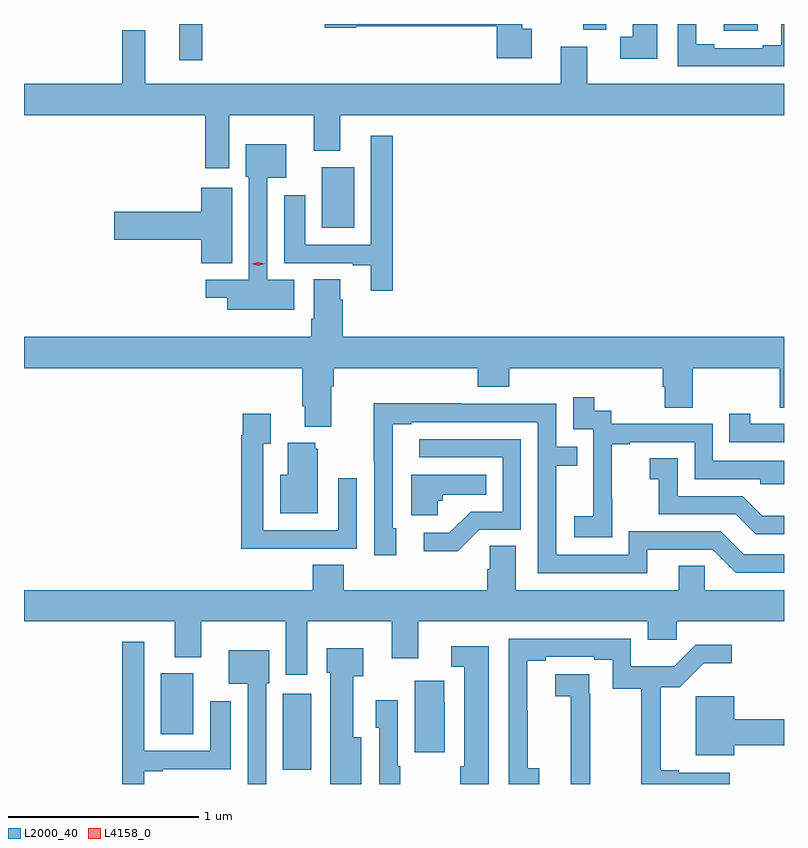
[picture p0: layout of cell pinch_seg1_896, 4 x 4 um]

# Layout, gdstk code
import gdstk
lib = gdstk.Library(unit=1e-6, precision=1e-09)
def R(c, l, rs):  # rectangles x0, y0, x1, y1
    for r in rs: c.add(gdstk.rectangle(r[:2], r[2:], *l))
def P(c, l, *ps):  # polygons
    for p in ps: c.add(gdstk.Polygon(p, *l))
L2000_40 = (2000, 40)
L4158_0 = (4158, 0)

pinch_seg1_896 = lib.new_cell('pinch_seg1_896')
R(pinch_seg1_896, L2000_40, [(254.579,544.291,254.728,544.69), (253.937,544.478,254.107,544.798), (254.783,547.142,254.953,547.462), (254.033,548.025,254.155,548.215), (256.899,548.179,257.078,548.215), (256.16,548.185,256.28,548.215)])
P(pinch_seg1_896, L2000_40, [(256.549,548.215),(256.421,548.215),(256.421,548.148),(256.353,548.148),(256.353,548.033),(256.549,548.033)],
  [(255.889,548.19),(255.838,548.19),(255.838,548.215),(254.798,548.215),(254.798,548.194),(254.964,548.194),(254.964,548.202),(255.704,548.202),(255.704,548.034),(255.889,548.034)],
  [(257.216,548.215),(257.202,548.215),(257.202,548.102),(257.105,548.102),(257.105,548.088),(256.849,548.088),(256.849,548.108),(256.753,548.108),(256.753,548.215),(256.656,548.215),(256.656,547.992),(257.216,547.992)],
  [(254.296,547.736),(254.741,547.736),(254.741,547.547),(254.881,547.547),(254.881,547.736),(257.216,547.736),(257.216,547.9),(256.18,547.9),(256.18,548.095),(256.04,548.095),(256.04,547.9),(253.855,547.9),(253.855,548.182),(253.734,548.182),(253.734,547.9),(253.216,547.9),(253.216,547.736),(254.171,547.736),(254.171,547.455),(254.296,547.455)],
  [(255.158,547.627),(255.042,547.627),(255.042,547.053),(254.695,547.053),(254.695,547.315),(254.585,547.315),(254.585,546.957),(254.945,546.957),(254.945,546.945),(255.041,546.945),(255.041,546.81),(255.158,546.81)],
  [(254.638,546.868),(254.496,546.868),(254.496,547.406),(254.596,547.406),(254.596,547.582),(254.384,547.582),(254.384,547.41),(254.4,547.41),(254.4,546.87),(254.172,546.87),(254.172,546.773),(254.285,546.773),(254.285,546.71),(254.638,546.71)],
  [(254.311,547.354),(254.15,547.354),(254.15,547.226),(253.692,547.226),(253.692,547.079),(254.15,547.079),(254.15,546.955),(254.311,546.955)],
  [(254.833,546.308),(254.846,546.308),(254.846,546.404),(255.605,546.404),(255.605,546.305),(255.77,546.305),(255.77,546.404),(256.577,546.404),(256.577,546.306),(256.589,546.306),(256.589,546.196),(256.737,546.196),(256.737,546.404),(257.194,546.404),(257.194,546.196),(257.216,546.196),(257.216,546.568),(254.894,546.568),(254.894,546.764),(254.881,546.764),(254.881,546.872),(254.741,546.872),(254.741,546.664),(254.729,546.664),(254.729,546.568),(253.216,546.568),(253.216,546.404),(254.681,546.404),(254.681,546.202),(254.693,546.202),(254.693,546.095),(254.833,546.095)],
  [(256.311,545.719),(256.31,545.719),(256.31,546.003),(256.405,546.003),(256.405,546.015),(256.746,546.015),(256.746,545.82),(257.091,545.82),(257.091,545.793),(257.216,545.793),(257.216,545.916),(256.842,545.916),(256.842,546.111),(256.308,546.111),(256.308,546.18),(256.216,546.18),(256.216,546.25),(256.107,546.25),(256.107,546.081),(256.212,546.081),(256.212,545.852),(256.211,545.852),(256.211,545.623),(256.113,545.623),(256.113,545.513),(256.311,545.513)],
  [(256.495,545.448),(256.842,545.448),(256.962,545.328),(257.216,545.328),(257.216,545.424),(257.004,545.424),(256.884,545.544),(256.398,545.544),(256.398,545.421),(256.017,545.421),(256.017,545.89),(256.127,545.89),(256.127,545.991),(256.017,545.991),(256.017,546.216),(255.521,546.216),(255.521,546.218),(255.058,546.218),(255.058,545.911),(255.06,545.911),(255.06,545.418),(255.175,545.418),(255.175,545.562),(255.156,545.562),(255.156,546.108),(255.253,546.108),(255.253,546.12),(255.921,546.12),(255.921,545.325),(256.495,545.325)],
  [(257.216,546.111),(257.038,546.111),(257.038,546.163),(256.927,546.163),(256.927,546.015),(257.216,546.015)],
  [(254.651,545.454),(254.967,545.454),(254.967,545.824),(254.871,545.824),(254.871,545.55),(254.475,545.55),(254.475,546.007),(254.515,546.007),(254.515,546.163),(254.367,546.163),(254.367,546.05),(254.359,546.05),(254.359,545.453),(254.651,545.453)],
  [(255.612,545.553),(255.831,545.553),(255.831,546.03),(255.297,546.03),(255.297,545.934),(255.735,545.934),(255.735,545.649),(255.566,545.649),(255.455,545.538),(255.321,545.538),(255.321,545.441),(255.499,545.441)],
  [(254.761,545.979),(254.75,545.979),(254.75,546.01),(254.603,546.01),(254.603,545.842),(254.564,545.842),(254.564,545.639),(254.761,545.639)],
  [(257.216,545.626),(257.102,545.626),(256.998,545.73),(256.656,545.73),(256.656,545.929),(256.509,545.929),(256.509,545.819),(256.558,545.819),(256.558,545.634),(256.961,545.634),(257.066,545.529),(257.216,545.529)],
  [(255.393,545.706),(255.42,545.706),(255.42,545.738),(255.65,545.738),(255.65,545.842),(255.254,545.842),(255.254,545.63),(255.393,545.63)],
  [(254.707,545.072),(255.152,545.072),(255.152,544.878),(255.292,544.878),(255.292,545.072),(256.499,545.072),(256.499,544.974),(256.651,544.974),(256.651,545.072),(257.216,545.072),(257.216,545.236),(256.8,545.236),(256.8,545.363),(256.661,545.363),(256.661,545.236),(255.805,545.236),(255.805,545.468),(255.666,545.468),(255.666,545.345),(255.653,545.345),(255.653,545.236),(254.9,545.236),(254.9,545.369),(254.735,545.369),(254.735,545.236),(253.216,545.236),(253.216,545.072),(254.009,545.072),(254.009,544.883),(254.149,544.883),(254.149,545.072),(254.594,545.072),(254.594,544.791),(254.707,544.791)],
  [(255.928,544.297),(255.867,544.297),(255.867,544.601),(255.865,544.601),(255.865,544.864),(255.961,544.864),(255.961,544.884),(256.217,544.884),(256.217,544.87),(256.314,544.87),(256.314,544.717),(256.465,544.717),(256.465,544.215),(256.931,544.215),(256.931,544.275),(256.663,544.275),(256.663,544.288),(256.568,544.288),(256.568,544.725),(256.667,544.725),(256.793,544.85),(256.942,544.85),(256.942,544.947),(256.752,544.947),(256.639,544.834),(256.41,544.834),(256.41,544.98),(255.768,544.98),(255.768,544.215),(255.928,544.215)],
  [(253.849,544.281),(253.945,544.281),(253.945,544.293),(254.305,544.293),(254.305,544.651),(254.195,544.651),(254.195,544.389),(253.848,544.389),(253.848,544.963),(253.732,544.963),(253.732,544.215),(253.849,544.215)],
  [(255.661,544.939),(255.465,544.939),(255.465,544.831),(255.533,544.831),(255.533,544.308),(255.511,544.308),(255.511,544.215),(255.661,544.215)],
  [(254.992,544.462),(254.95,544.462),(254.95,544.783),(255.001,544.783),(255.001,544.93),(254.81,544.93),(254.81,544.8),(254.828,544.8),(254.828,544.215),(254.992,544.215)],
  [(254.49,544.746),(254.506,544.746),(254.506,544.918),(254.294,544.918),(254.294,544.742),(254.394,544.742),(254.394,544.215),(254.49,544.215)],
  [(256.196,544.691),(256.19,544.691),(256.19,544.793),(256.011,544.793),(256.011,544.678),(256.093,544.678),(256.093,544.395),(256.094,544.395),(256.094,544.215),(256.196,544.215)],
  [(255.43,544.646),(255.428,544.646),(255.428,544.759),(255.272,544.759),(255.272,544.383),(255.43,544.383)],
  [(256.954,544.42),(257.216,544.42),(257.216,544.556),(256.954,544.556),(256.954,544.677),(256.751,544.677),(256.751,544.367),(256.954,544.367)],
  [(255.196,544.309),(255.183,544.309),(255.183,544.657),(255.066,544.657),(255.066,544.512),(255.087,544.512),(255.087,544.215),(255.196,544.215)])
P(pinch_seg1_896, L4158_0, [(254.448,546.942),(254.413,546.952),(254.412,546.952),(254.413,546.952),(254.448,546.962),(254.484,546.952),(254.484,546.952),(254.484,546.952)])

lib.write_gds('pinch_seg1_896.gds')
